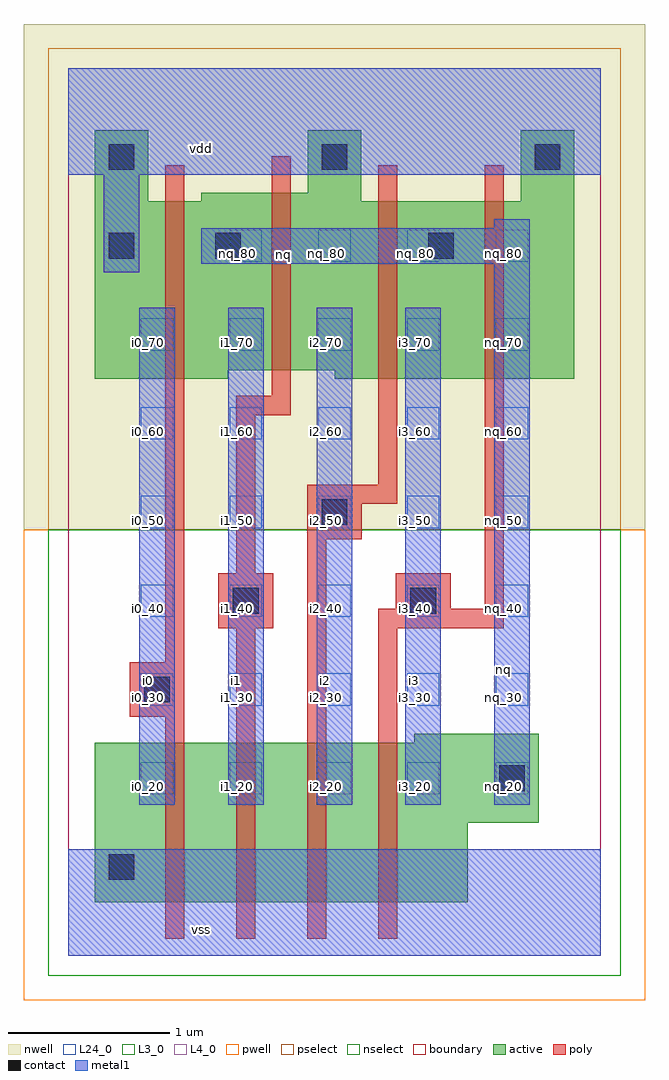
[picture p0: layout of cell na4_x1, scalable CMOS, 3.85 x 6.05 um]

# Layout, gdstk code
import gdstk
lib = gdstk.Library(unit=1e-6, precision=2.5e-09)
def R(c, l, rs):  # rectangles x0, y0, x1, y1
    for r in rs: c.add(gdstk.rectangle(r[:2], r[2:], *l))
def A(c, l, x, y, w, h, nx, ny, dx, dy):  # array of equal rectangles
    R(c, l, [(x+i*dx, y+j*dy, x+i*dx+w, y+j*dy+h) for i in range(nx) for j in range(ny)])
L3_0 = (3, 0)
L4_0 = (4, 0)
L24_0 = (24, 0)
contact = (25, 0)
pwell = (41, 0)
nwell = (42, 0)
active = (43, 0)
pselect = (44, 0)
nselect = (45, 0)
poly = (46, 0)
metal1 = (49, 0)
boundary = (63, 0)

na4_x1 = lib.new_cell('na4_x1')
R(na4_x1, L3_0, [(0.165,0.33,2.475,0.825), (0.165,0.825,2.915,1.32), (2.145,1.32,2.915,1.375)])
R(na4_x1, L4_0, [(0.165,3.575,0.99,3.63), (1.65,3.575,3.135,3.63), (0.165,3.63,3.135,4.675), (0.165,4.675,0.495,5.115), (0.825,4.675,1.815,4.73), (2.805,4.675,3.135,5.115), (1.485,4.73,1.815,5.115)])
A(na4_x1, L24_0, 0.45, 1, 0.2, 0.2, 5, 6, 0.55, 0.55)
A(na4_x1, L24_0, 1, 4.3, 0.2, 0.2, 4, 1, 0.55, 0)
A(na4_x1, contact, 0.25, 4.87, 0.16, 0.16, 3, 1, 1.32, 0)
R(na4_x1, contact, [(0.25,0.47,0.41,0.63), (2.67,1.02,2.83,1.18), (0.47,1.57,0.63,1.73), (1.02,2.12,1.18,2.28), (2.12,2.12,2.28,2.28), (1.57,2.67,1.73,2.83), (0.25,4.32,0.41,4.48), (0.91,4.32,1.07,4.48), (2.23,4.32,2.39,4.48)])
R(na4_x1, pwell, [(-0.275,-0.275,3.575,2.64)])
R(na4_x1, nwell, [(-0.275,2.64,3.575,5.775)])
R(na4_x1, active, [(0.165,0.33,2.475,0.825), (0.165,0.825,2.915,1.32), (2.145,1.32,2.915,1.375), (0.165,3.575,0.99,3.63), (1.65,3.575,3.135,3.63), (0.165,3.63,3.135,4.675), (0.165,4.675,0.495,5.115), (0.825,4.675,1.815,4.73), (2.805,4.675,3.135,5.115), (1.485,4.73,1.815,5.115)])
R(na4_x1, pselect, [(-0.125,2.64,3.425,5.625)])
R(na4_x1, nselect, [(-0.125,-0.125,3.425,2.64)])
R(na4_x1, poly, [(0.6,0.105,0.72,1.48), (1.04,0.105,1.16,2.03), (1.48,0.105,1.6,2.58), (1.92,0.105,2.04,2.03), (0.38,1.48,0.72,1.82), (0.6,1.82,0.72,4.9), (0.93,2.03,1.27,2.37), (1.92,2.03,2.7,2.15), (2.03,2.15,2.37,2.37), (2.58,2.15,2.7,4.9), (1.04,2.37,1.16,3.35), (1.48,2.58,1.82,2.8), (1.48,2.8,2.04,2.92), (1.92,2.92,2.04,4.9), (1.04,3.35,1.38,3.47), (1.26,3.47,1.38,4.955)])
A(na4_x1, metal1, 0.44, 0.935, 0.22, 3.08, 4, 1, 0.55, 0)
R(na4_x1, metal1, [(0,0,3.3,0.66), (2.64,0.935,2.86,4.29), (0.22,4.235,0.44,4.84), (0.825,4.29,2.86,4.51), (2.64,4.51,2.86,4.565), (0,4.84,3.3,5.5)])
R(na4_x1, boundary, [(0,0,3.3,5.5)])
na4_x1.add(gdstk.Label('vss', (0.825,0.165), layer=49, texttype=0))
na4_x1.add(gdstk.Label('nq', (2.695,1.7725), layer=49, texttype=0))
na4_x1.add(gdstk.Label('i3', (2.145,1.705), layer=49, texttype=0))
na4_x1.add(gdstk.Label('i2', (1.595,1.705), layer=49, texttype=0))
na4_x1.add(gdstk.Label('i1', (1.045,1.705), layer=49, texttype=0))
na4_x1.add(gdstk.Label('i0', (0.495,1.705), layer=49, texttype=0))
na4_x1.add(gdstk.Label('nq', (1.3325,4.345), layer=49, texttype=0))
na4_x1.add(gdstk.Label('vdd', (0.825,5.005), layer=49, texttype=0))
na4_x1.add(gdstk.Label('nq_80', (1.05,4.35), layer=24, texttype=0))
na4_x1.add(gdstk.Label('nq_80', (1.6,4.35), layer=24, texttype=0))
na4_x1.add(gdstk.Label('nq_80', (2.15,4.35), layer=24, texttype=0))
na4_x1.add(gdstk.Label('i0_30', (0.5,1.6), layer=24, texttype=0))
na4_x1.add(gdstk.Label('i0_40', (0.5,2.15), layer=24, texttype=0))
na4_x1.add(gdstk.Label('i0_50', (0.5,2.7), layer=24, texttype=0))
na4_x1.add(gdstk.Label('i0_60', (0.5,3.25), layer=24, texttype=0))
na4_x1.add(gdstk.Label('i0_70', (0.5,3.8), layer=24, texttype=0))
na4_x1.add(gdstk.Label('i0_20', (0.5,1.05), layer=24, texttype=0))
na4_x1.add(gdstk.Label('i1_20', (1.05,1.05), layer=24, texttype=0))
na4_x1.add(gdstk.Label('i1_30', (1.05,1.6), layer=24, texttype=0))
na4_x1.add(gdstk.Label('i1_40', (1.05,2.15), layer=24, texttype=0))
na4_x1.add(gdstk.Label('i1_50', (1.05,2.7), layer=24, texttype=0))
na4_x1.add(gdstk.Label('i1_60', (1.05,3.25), layer=24, texttype=0))
na4_x1.add(gdstk.Label('i1_70', (1.05,3.8), layer=24, texttype=0))
na4_x1.add(gdstk.Label('i2_70', (1.6,3.8), layer=24, texttype=0))
na4_x1.add(gdstk.Label('i2_60', (1.6,3.25), layer=24, texttype=0))
na4_x1.add(gdstk.Label('i2_50', (1.6,2.7), layer=24, texttype=0))
na4_x1.add(gdstk.Label('i2_40', (1.6,2.15), layer=24, texttype=0))
na4_x1.add(gdstk.Label('i2_30', (1.6,1.6), layer=24, texttype=0))
na4_x1.add(gdstk.Label('i2_20', (1.6,1.05), layer=24, texttype=0))
na4_x1.add(gdstk.Label('i3_20', (2.15,1.05), layer=24, texttype=0))
na4_x1.add(gdstk.Label('i3_30', (2.15,1.6), layer=24, texttype=0))
na4_x1.add(gdstk.Label('i3_40', (2.15,2.15), layer=24, texttype=0))
na4_x1.add(gdstk.Label('i3_50', (2.15,2.7), layer=24, texttype=0))
na4_x1.add(gdstk.Label('i3_60', (2.15,3.25), layer=24, texttype=0))
na4_x1.add(gdstk.Label('i3_70', (2.15,3.8), layer=24, texttype=0))
na4_x1.add(gdstk.Label('nq_70', (2.7,3.8), layer=24, texttype=0))
na4_x1.add(gdstk.Label('nq_60', (2.7,3.25), layer=24, texttype=0))
na4_x1.add(gdstk.Label('nq_50', (2.7,2.7), layer=24, texttype=0))
na4_x1.add(gdstk.Label('nq_40', (2.7,2.15), layer=24, texttype=0))
na4_x1.add(gdstk.Label('nq_30', (2.7,1.6), layer=24, texttype=0))
na4_x1.add(gdstk.Label('nq_20', (2.7,1.05), layer=24, texttype=0))
na4_x1.add(gdstk.Label('nq_80', (2.7,4.35), layer=24, texttype=0))

lib.write_gds('na4_x1.gds')
